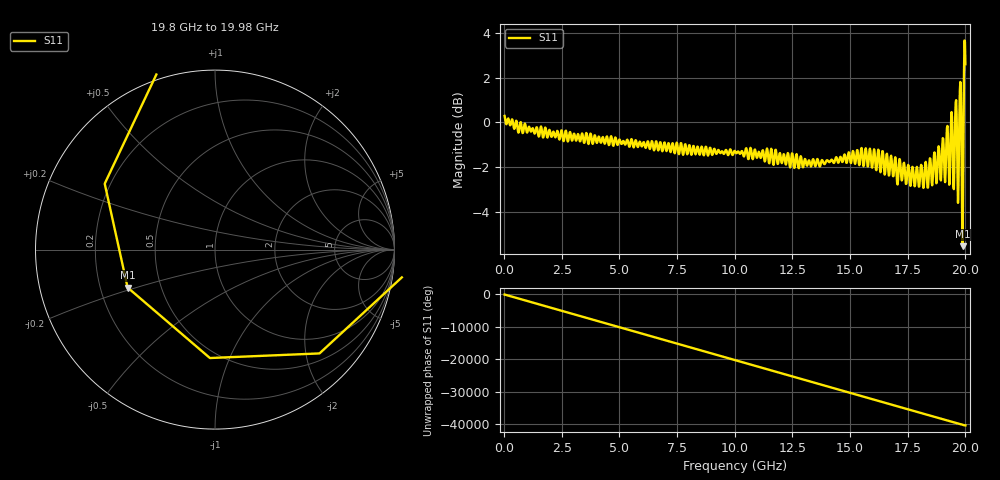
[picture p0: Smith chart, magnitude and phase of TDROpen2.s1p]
! File created by SignalIntegrity v1.1.13: Signal and Power Integrity Tools
! https://github.com/TeledyneLeCroy/SignalIntegrity
# MHz S MA R 50.0
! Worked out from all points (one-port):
!   1000 points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, 20 MHz to 20 GHz, reference 50 ohm
!   lowest |S11| = -5.5 dB at 19.88 GHz (marker M1), VSWR 3.26, Z = 15.9 - j9.37 ohm
!   |S11| at or under -10 dB: nowhere
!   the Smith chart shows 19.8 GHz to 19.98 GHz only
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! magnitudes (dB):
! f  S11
! 20 MHz  0.3
! 720 MHz  0.0
! 2.52 GHz  -0.5
! 5.02 GHz  -0.8
! 7.52 GHz  -1.1
! 10.02 GHz  -1.3
! 12.52 GHz  -1.5
! 13.76 GHz  -1.7
! 15.02 GHz  -1.8
! 16.32 GHz  -2.2
! 17.52 GHz  -1.9
! 18.28 GHz  -1.8
! 18.76 GHz  -2.7
! 18.84 GHz  -1.1
! 18.94 GHz  -2.6
! 19.04 GHz  -0.7
! 19.12 GHz  -2.7
! 19.22 GHz  -0.2
! 19.32 GHz  -2.6
! 19.4 GHz  0.5
! 19.5 GHz  -3.0
! 19.6 GHz  1.0
! 19.7 GHz  -2.8
! 19.78 GHz  1.8
! 19.88 GHz  -5.5
! 19.94 GHz  2.2
! 19.96 GHz  3.6
! 20 GHz  2.6
